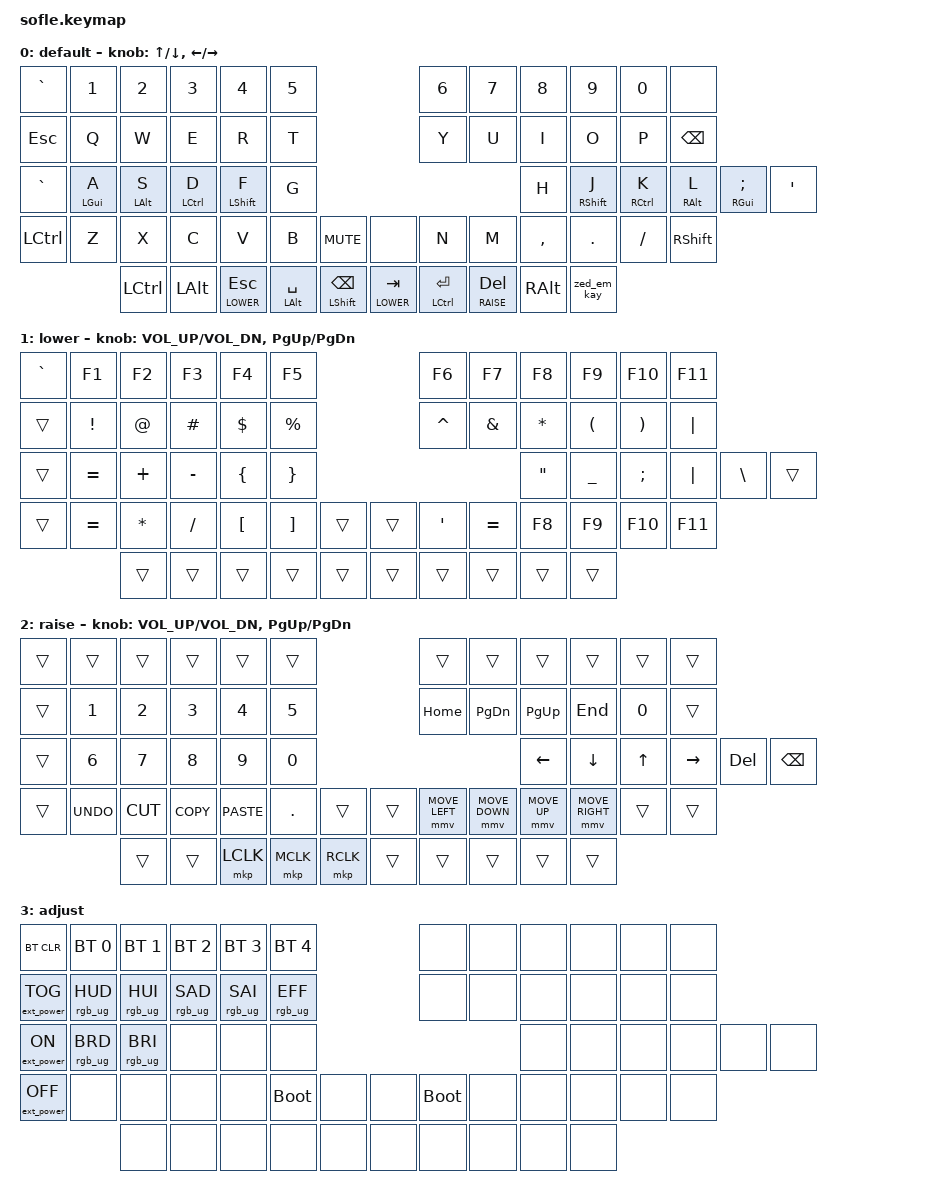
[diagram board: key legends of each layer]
/*
 * Copyright (c) 2020 The ZMK Contributors
 *
 * SPDX-License-Identifier: MIT
 */


#include <behaviors.dtsi>
#include <dt-bindings/zmk/keys.h>
#include <dt-bindings/zmk/bt.h>
#include <dt-bindings/zmk/rgb.h>
#include <dt-bindings/zmk/ext_power.h>

#define ZMK_POINTING_DEFAULT_MOVE_VAL 500  // default: 600
#define ZMK_POINTING_DEFAULT_SCRL_VAL 10    // default: 10

#include <dt-bindings/zmk/pointing.h>

#define BASE 0
#define LOWER 1
#define RAISE 2
#define ADJUST 3

//for my keymap
#define sft_spc &mt LSHFT SPACE
#define alt_bspc &mt LALT BSPC

#define alt_spc &mt LALT SPACE
#define sft_bspc &mt LSHFT BSPC

#define low_tab &lt LOWER TAB
#define ctl_ent &mt LCTRL ENTER
#define ctl_spc &mt LCTRL SPACE

#define ris_esc &lt RAISE ESC
#define low_del &lt LOWER DEL

#define ris_del &lt RAISE DEL
#define low_esc &lt LOWER ESC

#define m_up &mmv MOVE_UP
#define m_dn &mmv MOVE_DOWN
#define m_lt &mmv MOVE_LEFT
#define m_rt &mmv MOVE_RIGHT

#define m_lclk &mkp LCLK
#define m_rclk &mkp RCLK
#define m_mclk &mkp MCLK

// Key position groups for home row mods (positional hold-tap).
// Position 0 = first binding in default_layer, counting left-to-right, top-to-bottom.
// Row0:  0  1  2  3  4  5   |  6  7  8  9 10 11
// Row1: 12 13 14 15 16 17   | 18 19 20 21 22 23
// Row2: 24 25 26 27 28 29   | 30 31 32 33 34 35   <- home row
// Row3: 36 37 38 39 40 41 42| 43 44 45 46 47 48 49
// Row4: 50 51 52 53 54      | 55 56 57 58 59       <- thumbs
#define KEYS_L 0 1 2 3 4 5 12 13 14 15 16 17 24 25 26 27 28 29 36 37 38 39 40 41 42
#define KEYS_R 6 7 8 9 10 11 18 19 20 21 22 23 30 31 32 33 34 35 43 44 45 46 47 48 49
#define THUMBS 50 51 52 53 54 55 56 57 58 59

/ {
    macros {
        zed_em_kay: zed_em_kay {
            compatible = "zmk,behavior-macro";
            #binding-cells = <0>;
            bindings
                = <&macro_press &kp LSHFT>
                , <&macro_tap &kp Z &kp M &kp K>
                , <&macro_release &kp LSHFT>
                ;
        };
    };

    behaviors {
        td0: tap_dance_0 {
            compatible = "zmk,behavior-tap-dance";
            #binding-cells = <0>;
            tapping-term-ms = <150>;
            bindings = <&kp C>, <&kp LC(C)>;
        };
        td1: tap_dance_1 {
            compatible = "zmk,behavior-tap-dance";
            #binding-cells = <0>;
            tapping-term-ms = <150>;
            bindings = <&kp V>, <&kp LC(V)>;
        };
        td2: tap_dance_2 {
            compatible = "zmk,behavior-tap-dance";
            #binding-cells = <0>;
            tapping-term-ms = <150>;
            bindings = <alt_spc>, <ctl_spc>;
        };

        // Home row mods: resolve instantly to a tap while typing at speed
        // (require-prior-idle-ms), and only resolve to a hold on a genuine
        // cross-hand combination (hold-trigger-key-positions + on-release).
        hml: home_row_mod_left {
            compatible = "zmk,behavior-hold-tap";
            #binding-cells = <2>;
            flavor = "balanced";
            tapping-term-ms = <280>;
            quick-tap-ms = <175>;
            require-prior-idle-ms = <150>;
            bindings = <&kp>, <&kp>;
            hold-trigger-key-positions = <KEYS_R THUMBS>;
            hold-trigger-on-release;
        };

        hmr: home_row_mod_right {
            compatible = "zmk,behavior-hold-tap";
            #binding-cells = <2>;
            flavor = "balanced";
            tapping-term-ms = <280>;
            quick-tap-ms = <175>;
            require-prior-idle-ms = <150>;
            bindings = <&kp>, <&kp>;
            hold-trigger-key-positions = <KEYS_L THUMBS>;
            hold-trigger-on-release;
        };
    };

   // Activate ADJUST layer by pressing raise and lower
    conditional_layers {
        compatible = "zmk,conditional-layers";
        adjust_layer {
            if-layers = <LOWER RAISE>;
            then-layer = <ADJUST>;
        };
    };

    keymap {
        compatible = "zmk,keymap";

        default_layer {
            display-name = "default";
// ------------------------------------------------------------------------------------------------------------
// |   `   |  1  |  2  |  3   |  4   |  5   |                   |  6   |  7    |  8    |  9   |   0   |       |
// |  ESC  |  Q  |  W  |  E   |  R   |  T   |                   |  Y   |  U    |  I    |  O   |   P   | BKSPC |
// |  TAB  |A/GUI|S/ALT|D/CTRL|F/SHFT|  G   |                   |  H   |J/SHFT |K/CTRL | L/ALT| ;/GUI |   '   |
// | SHIFT |  Z  |  X  |  C   |  V   |  B   |  MUTE  |  |       |  N   |  M    |  ,    |  .   |   /   | SHIFT |
//               | GUI | ALT  | CTRL | LOWER|  ENTER |  | SPACE | RAISE| CTRL  | ALT   | GUI  |
            bindings = <
&kp GRAVE &kp N1 &kp N2   &kp N3   &kp N4    &kp N5                           &kp N6 &kp N7    &kp N8    &kp N9   &kp N0   &none
&kp ESC   &kp Q  &kp W    &kp E    &kp R     &kp T                            &kp Y  &kp U     &kp I     &kp O    &kp P    &kp BSPC
&kp GRAVE &hml LGUI A &hml LALT S &hml LCTRL D &hml LSHFT F &kp G              &kp H  &hmr RSHFT J &hmr RCTRL K &hmr RALT L &hmr RGUI SEMI &kp SQT
&kp LCTRL &kp Z  &kp X    &kp C    &kp V     &kp B      &kp C_MUTE &none      &kp N  &kp M     &kp COMMA &kp DOT  &kp FSLH &kp RSHFT
                 &kp LCTRL &kp LALT low_esc  alt_spc    sft_bspc   low_tab    ctl_ent  ris_del &kp RALT  &zed_em_kay
            >;

            sensor-bindings = <&inc_dec_kp UP DOWN &inc_dec_kp LEFT RIGHT>;
        };

        lower_layer {
            display-name = "lower";
// TODO: Some binds are waiting for shifted keycode support.
// ------------------------------------------------------------------------------------------------------------
// |       |  F1 |  F2 |  F3  |  F4  |  F5  |                   |  F6  |  F7   |  F8   |  F9  |  F10  |  F11  |
// |   `   |  1  |  2  |  3   |  4   |  5   |                   |  6   |  7    |  8    |  9   |   0   |  F12  |
// |       |  !  |  @  |  #   |  $   |  %   |                   |  ^   |  &    |  *    |  (   |   )   |   |   |
// |       |  =  |  -  |  +   |  {   |  }   |        |  |       |  [   |  ]    |  ;    |  :   |   \   |       |
//               |     |      |      |      |        |  |       |      |       |       |      |
// ------------------------------------------------------------------------------------------------------------
// |   `   |  F1 |  F2 |  F3  |  F4  |  F5  |                   |  F6  |  F7   |  F8   |  F9  |  F10  |  F11  |
// |       |  !  |  @  |  #   |  $   |  %   |                   |  ^   |  &    |  *    |  (   |   )   |   |   |
// |       |  `  |  +  |  -   |  {   |  }   |        |  |       |  "   |  _    |  ;    |  |   |   \   |       |
// |       |  =  |  *  |  /   |  [   |  ]   |                   |  '   |  F7   |  F8   |  F9  |  F10  |  F11  |
//               |     |      |      |      |        |  |       |      |       |       |      |
//
            bindings = <
&kp GRAVE &kp F1    &kp F2    &kp F3      &kp F4    &kp F5                    &kp F6    &kp F7   &kp F8    &kp F9    &kp F10   &kp F11
&trans    &kp EXCL  &kp AT    &kp HASH    &kp DLLR  &kp PRCNT                 &kp CARET &kp AMPS &kp ASTRK &kp LPAR  &kp RPAR  &kp PIPE
&trans    &kp EQUAL &kp PLUS  &kp MINUS   &kp LBRC  &kp RBRC                  &kp DQT   &kp UNDER &kp SEMI  &kp PIPE &kp BSLH  &trans
&trans    &kp EQUAL &kp ASTRK &kp FSLH    &kp LBKT  &kp RBKT   &trans &trans  &kp SQT   &kp EQUAL &kp F8    &kp F9    &kp F10   &kp F11
                    &trans    &trans      &trans    &trans     &trans &trans  &trans    &trans   &trans    &trans
            >;

            sensor-bindings = <&inc_dec_kp C_VOL_UP C_VOL_DN &inc_dec_kp PG_UP PG_DN>;
        };

        raise_layer {
            display-name = "raise";
// ------------------------------------------------------------------------------------------------------------
// | BTCLR | BT1  | BT2  |  BT3  |  BT4  |  BT5 |                |      |      |       |      |       |       |
// |       | INS  | PSCR | GUI   |       |      |                | PGUP |      |   ^   |      |       |       |
// |       | ALT  | CTRL | SHIFT |       | CAPS |                | PGDN |   <- |   v   |  ->  |  DEL  | BKSPC |
// |       | UNDO | CUT  | COPY  | PASTE |      |      |  |      |      |      |       |      |       |       |
//                |      |       |       |      |      |  |      |      |      |       |      |
// -My keymap--------------------------------------------------------------------------------------------------
// | BTCLR | BT1  | BT2  |  BT3  |  BT4  |  BT5 |                |      |      |       |      |       |       |
// |       |  1   |  2   |  3    |   4   |   5  |                | HOME | PGDN | PGUP  | END  |       |       |
// |       |  6   |  7   |  8    |   9   |   0  |                |   <- |   v  |   ^   |  ->  |  DEL  | BKSPC |
// |       | UNDO | CUT  | COPY  | PASTE |      |      |  |      |      |           |       |      |       |       |
            bindings = <
&trans     &trans       &trans       &trans       &trans       &trans                        &trans    &trans    &trans   &trans    &trans  &trans
&trans     &kp N1       &kp N2       &kp N3       &kp N4       &kp N5                        &kp HOME  &kp PG_DN &kp PG_UP &kp END  &kp N0  &trans
&trans     &kp N6       &kp N7       &kp N8       &kp N9       &kp N0                        &kp LEFT  &kp DOWN  &kp UP   &kp RIGHT &kp DEL &kp BSPC
&trans     &kp K_UNDO   &kp K_CUT    &kp K_COPY   &kp K_PASTE  &kp DOT       &trans  &trans  m_lt      m_dn      m_up     m_rt      &trans  &trans
                        &trans       &trans       m_lclk       m_mclk        m_rclk  &trans  &trans    &trans    &trans   &trans
            >;

            sensor-bindings = <&inc_dec_kp C_VOL_UP C_VOL_DN &inc_dec_kp PG_UP PG_DN>;
        };

        adjust_layer {
// ----------------------------------------------------------------------------------------------------------------------------
// | BTCLR  |  BT1    |  BT2    |   BT3   |   BT4   |   BT5   |                  |      |      |       |      |       |       |
// | EXTPWR | RGB_HUD | RGB_HUI | RGB_SAD | RGB_SAI | RGB_EFF |                  |      |      |       |      |       |       |
// |        | RGB_BRD | RGB_BRI |         |         |         |                  |      |      |       |      |       |       |
// |        |         |         |         |         |         | RGB_TOG | |      |      |      |       |      |       |       |
//                    |         |         |         |         |         | |      |      |      |       |      |
            display-name = "adjust";
            bindings = <
&bt BT_CLR        &bt BT_SEL 0    &bt BT_SEL 1    &bt BT_SEL 2    &bt BT_SEL 3    &bt BT_SEL 4                            &none &none &none &none &none &none
&ext_power EP_TOG &rgb_ug RGB_HUD &rgb_ug RGB_HUI &rgb_ug RGB_SAD &rgb_ug RGB_SAI &rgb_ug RGB_EFF                         &none &none &none &none &none &none
&ext_power EP_ON  &rgb_ug RGB_BRD &rgb_ug RGB_BRI &none           &none           &none                                   &none &none &none &none &none &none
&ext_power EP_OFF &none           &none           &none           &none           &bootloader      &none           &none  &bootloader &none &none &none &none &none
                                  &none           &none           &none           &none            &none           &none  &none &none &none &none
            >;
        };

    };
};
